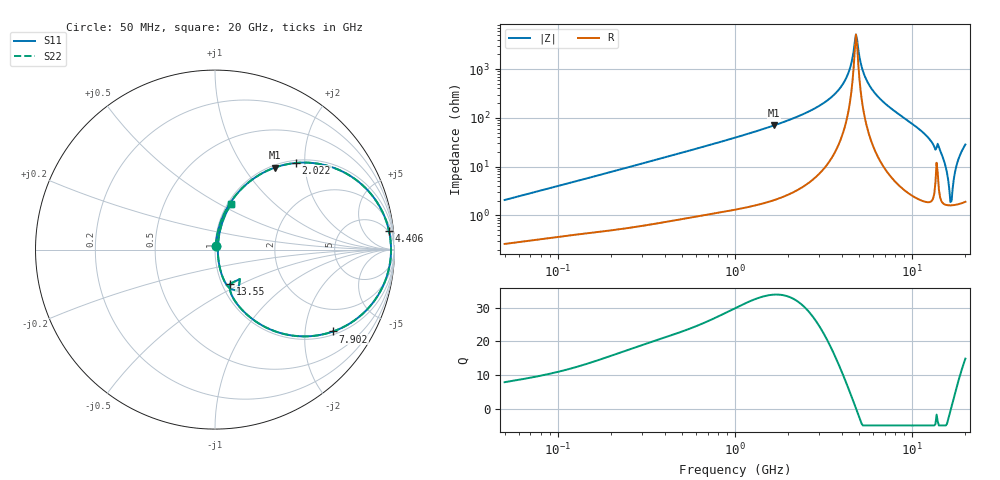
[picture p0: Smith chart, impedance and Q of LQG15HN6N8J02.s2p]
!Murata Part Number: LQG15HN6N8J02
!These Parameters are Measured in Series Mode Connection
!  o--[Z]--o
!Port1  Port2
!  o-------o
!Freq. Start=50[MHz] Stop=20[GHz], 401[Steps]
# Hz S RI R 50
!Freq.(Hz) S11(Real) S11(Imag) S21(Real) S21(Imag) S12(Real) S12(Imag) S22(Real) S22(Imag)
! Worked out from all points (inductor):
!   401 points, 50 MHz to 20 GHz, reference 50 ohm
!   read as one part in series: L = 6.47 nH near 51.52 MHz
!   highest Q = 33.9 at 1.664 GHz (marker M1), where L = 6.7 nH
!   self-resonance near 4.82 GHz
!   S11 on the Smith chart (normalised r, x): 50 MHz: 1.01, +0.04; 2.022 GHz: 1.05, +1.81; 4.406 GHz: 4, +18; 7.902 GHz: 1.10, -2.80; 13.55 GHz: 1.09, -0.43; 20 GHz: 1.04, +0.57
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5e7  0.00302 0.0204  0.997 -0.0204  0.997 -0.0204  0.00302 0.0204
1.364002e8  0.007 0.0532  0.993 -0.0532  0.993 -0.0532  0.007 0.0532
3.721004e8  0.0267 0.1388  0.9733 -0.1388  0.9733 -0.1388  0.0267 0.1388
1e9  0.1413 0.332  0.8587 -0.332  0.8587 -0.332  0.1413 0.332
1.664083e9  0.3338 0.4571  0.6662 -0.4571  0.6662 -0.4571  0.3338 0.4571
2.021818e9  0.4515 0.4828  0.5485 -0.4828  0.5485 -0.4828  0.4515 0.4828
2.728004e9  0.675 0.4506  0.325 -0.4506  0.325 -0.4506  0.675 0.4506
3.736399e9  0.9016 0.2658  0.0984 -0.2658  0.0984 -0.2658  0.9016 0.2658
4.405649e9  0.9698 0.1032  0.0302 -0.1032  0.0302 -0.1032  0.9698 0.1032
4.81993e9  0.9809 0.00207  0.0191 -0.00207  0.0191 -0.00207  0.9809 0.00207
5.273168e9  0.9699 -0.1021  0.0301 0.1021  0.0301 0.1021  0.9699 -0.1021
5.598765e9  0.9498 -0.1704  0.0502 0.1704  0.0502 0.1704  0.9498 -0.1704
7.442007e9  0.7252 -0.4265  0.2748 0.4265  0.2748 0.4265  0.7252 -0.4265
7.901521e9  0.6574 -0.4563  0.3426 0.4563  0.3426 0.4563  0.6574 -0.4563
1.034674e10  0.329 -0.4531  0.671 0.4531  0.671 0.4531  0.329 -0.4531
1.354865e10  0.0844 -0.1899  0.9156 0.1899  0.9156 0.1899  0.0844 -0.1899
1.438523e10  0.0646 -0.1968  0.9354 0.1968  0.9354 0.1968  0.0646 -0.1968
1.504638e10  0.0353 -0.1325  0.9647 0.1325  0.9647 0.1325  0.0353 -0.1325
1.646126e10  0.0159 -0.00945  0.9841 0.00945  0.9841 0.00945  0.0159 -0.00945
1.696185e10  0.017 0.0318  0.983 -0.0318  0.983 -0.0318  0.017 0.0318
1.828096e10  0.0355 0.1347  0.9645 -0.1347  0.9645 -0.1347  0.0355 0.1347
2e10  0.0891 0.2532  0.9109 -0.2532  0.9109 -0.2532  0.0891 0.2532
